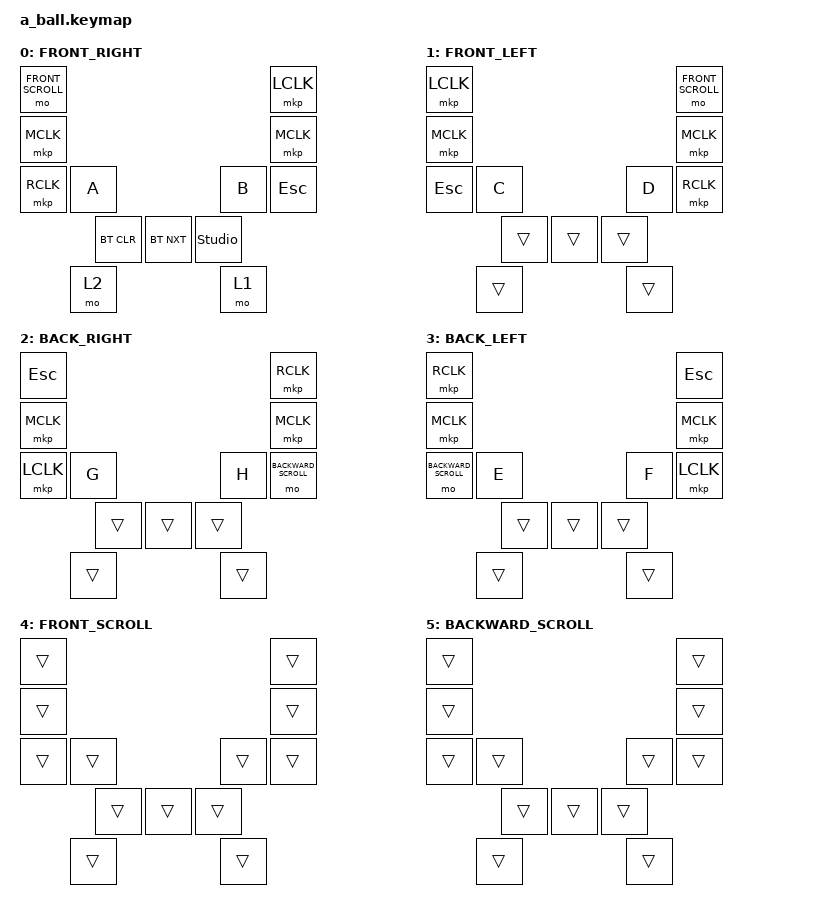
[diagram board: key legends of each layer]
#include <behaviors.dtsi>
#include <dt-bindings/zmk/keys.h>
#include <dt-bindings/zmk/bt.h>
//#include <dt-bindings/zmk/mouse.h>
#include <dt-bindings/zmk/outputs.h>
#include <dt-bindings/zmk/mouse.h>
#include <dt-bindings/zmk/ext_power.h>
//#include <behaviors/mouse_keys.dtsi>
//#include <input/processors.dtsi>


// Label re-defined: Fingers - Front, Thumb - Backwards

#define FRONT_RIGHT 0
#define FRONT_LEFT 1
#define BACK_RIGHT 2
#define BACK_LEFT 3
#define FRONT_SCROLL 4
#define BACKWARD_SCROLL 5

// Mouse speed increased
#define ZMK_POINTING_DEFAULT_MOVE_VAL 1000  // default: 600
#define ZMK_POINTING_DEFAULT_SCRL_VAL 15    // default: 10
//#include <dt-bindings/zmk/pointing.h>

/ {
    keymap {
        compatible = "zmk,keymap";

//        map = <
//   		 RC(0,2)    			     	RC(0,5)
//		 RC(0,1)	/* Ball */	        RC(0,4)
//	         RC(0,0)    RC(0,12)	RC(0,11)        RC(0,3)
//                   /* Buttons on top of the middle deck */
//  		       /*  BTReset BTSelect Unlock  */ 
//                          RC(0,8) RC(0,7)  RC(0,6)        
//               /* Slider switches on the bottom of the middle deck */
//		/* Orientation (Front/Backwards)   Handiness L/R     */
//                       RC(0,10)        	     RC(0,9)              
//        >;

// &mkp LCLK &mkp MCLK &mkp RCLK  &none

	// Layer 0
        FRONT_RIGHT {
            bindings = <
		&mo FRONT_SCROLL				&mkp LCLK
		&mkp MCLK					&mkp MCLK 				
		&mkp RCLK	      &kp A    &kp B		&kp ESC
               /* Orientation (Front/Backward)   Handiness L/R     */
   		  &bt BT_CLR  &bt BT_NXT   &studio_unlock	
			/*&kp N1  &kp N2  &kp N3*/
               /* Orientation (Front/Backward)   Handiness L/R     */
			&mo 2                   &mo 1
            >;
        };


	// Layer 1
        FRONT_LEFT {
            bindings = <
		&mkp LCLK 				&mo FRONT_SCROLL
		&mkp MCLK				&mkp MCLK 				
		&kp ESC      &kp C    &kp D		&mkp RCLK
	                   /* Inner Buttons  */
		            &trans &trans &trans
               /* Orientation (Front/Backward)   Handiness L/R     */
			&trans                  &trans
            >;
        };


	// Layer 2
        BACK_RIGHT {
            bindings = <
		&kp ESC         			&mkp RCLK		
		&mkp MCLK  				&mkp MCLK	
		&mkp LCLK 	&kp G    &kp H		&mo BACKWARD_SCROLL 
	                   /* Inner Buttons  */
		            &trans &trans &trans
               /* Orientation (Front/Backward)   Handiness L/R     */
			&trans                 &trans
            >;
        };
 
	// Layer 3
        BACK_LEFT {
            bindings = <
		&mkp RCLK				&kp ESC
		&mkp MCLK				&mkp MCLK 				
		&mo BACKWARD_SCROLL     &kp E    &kp F	&mkp LCLK
	                   /* Inner Buttons  */
		            &trans &trans &trans
               /* Orientation (Front/Backward)   Handiness L/R     */
			&trans                 &trans
            >;
         };
 
//   		 RC(0,5)    			    RC(0,2) 
//		 RC(0,4)	/* Ball */	    RC(0,1)
//	         RC(0,3)    RC(0,12)	RC(0,11)    RC(0,0) 
//                   /* Buttons on top of the middle deck */
//  		       /*  BTReset BTSelect Unlock  */ 
//                          RC(0,8) RC(0,7)  RC(0,6)        
//               /* Slider switches on the bottom of the middle deck */                                                         /
//		/* Orientation (Front/Backward)   Handiness L/R     */
//                       RC(0,10)        	     RC(0,9)              

	// Scroll layers do nothing by themselves, it is completely transparent.
	// It is detected in trackball_listener telling to switch from the pointing movement to scrolling.
	// Need separate layers for orientation to implement 
 	// Layers 4, 5
/* 4 */ FRONT_SCROLL  	    {bindings = <&trans &trans &trans &trans &trans &trans &trans &trans &trans &trans &trans &trans &trans>;};
/* 5 */ BACKWARD_SCROLL     {bindings = <&trans &trans &trans &trans &trans &trans &trans &trans &trans &trans &trans &trans &trans>;};

        extra1 {status = "reserved";};
        extra2 {status = "reserved";};
        extra3 {status = "reserved";};
        extra4 {status = "reserved";};
        extra5 {status = "reserved";};
        extra6 {status = "reserved";};
        extra7 {status = "reserved";};
        extra8  {status = "reserved";};

     };

    conditional_layers {
        compatible = "zmk,conditional-layers";
        tri_layer {
            if-layers = <FRONT_LEFT BACK_RIGHT>;
            then-layer = <BACK_LEFT>;
        };
    };

};
